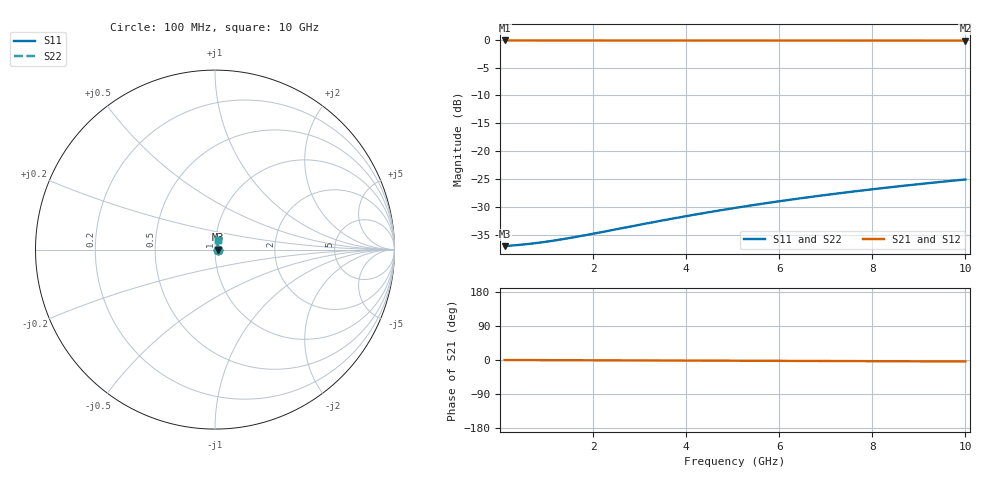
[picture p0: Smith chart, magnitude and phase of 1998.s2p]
# Hz S RI R 50.00
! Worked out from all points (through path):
!   100 points, 100 MHz to 10 GHz, reference 50 ohm
!   highest |S21| = -0.12 dB at 100 MHz (marker M1); lowest = -0.1 dB at 10 GHz (marker M2)
!   lowest |S11| = -37.1 dB at 100 MHz (marker M3), VSWR 1.03, Z = 51.4 + j0.0542 ohm
!   |S11| at or under -10 dB: start of sweep to end of sweep
!   |S22| runs from -37.1 to -25.1 dB; largest |S21 - S12| = 0
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1e8  0.014 0.000527  0.986 -0.000657  0.986 -0.000657  0.014 0.000527
5e8  0.0143 0.00263  0.9857 -0.00328  0.9857 -0.00328  0.0143 0.00263
7e8  0.0143 0.00369  0.9857 -0.0046  0.9857 -0.0046  0.0143 0.00369
9e8  0.0144 0.00474  0.9856 -0.00591  0.9856 -0.00591  0.0144 0.00474
1.1e9  0.0145 0.00579  0.9855 -0.00722  0.9855 -0.00722  0.0145 0.00579
1.3e9  0.0145 0.00684  0.9855 -0.00853  0.9855 -0.00853  0.0145 0.00684
1.5e9  0.0146 0.0079  0.9854 -0.00985  0.9854 -0.00985  0.0146 0.0079
1.8e9  0.0147 0.00947  0.9853 -0.0118  0.9853 -0.0118  0.0147 0.00947
3.4e9  0.0152 0.0179  0.9848 -0.0223  0.9848 -0.0223  0.0152 0.0179
3.9e9  0.0153 0.0205  0.9846 -0.0256  0.9846 -0.0256  0.0153 0.0205
4.3e9  0.0155 0.0226  0.9845 -0.0282  0.9845 -0.0282  0.0155 0.0226
4.7e9  0.0156 0.0247  0.9843 -0.0308  0.9843 -0.0308  0.0156 0.0247
5.1e9  0.0158 0.0268  0.9842 -0.0334  0.9842 -0.0334  0.0158 0.0268
5.5e9  0.016 0.0289  0.984 -0.0361  0.984 -0.0361  0.016 0.0289
5.9e9  0.0162 0.031  0.9838 -0.0387  0.9838 -0.0387  0.0162 0.031
6.3e9  0.0164 0.0331  0.9836 -0.0413  0.9836 -0.0413  0.0164 0.0331
6.7e9  0.0166 0.0352  0.9834 -0.0439  0.9834 -0.0439  0.0166 0.0352
7.5e9  0.017 0.0394  0.9829 -0.0491  0.9829 -0.0491  0.017 0.0394
7.9e9  0.0172 0.0415  0.9827 -0.0518  0.9827 -0.0518  0.0172 0.0415
8.4e9  0.0176 0.0441  0.9824 -0.055  0.9824 -0.055  0.0176 0.0441
9.2e9  0.0181 0.0483  0.9818 -0.0602  0.9818 -0.0602  0.0181 0.0483
1e10  0.0187 0.0524  0.9812 -0.0655  0.9812 -0.0655  0.0187 0.0524
